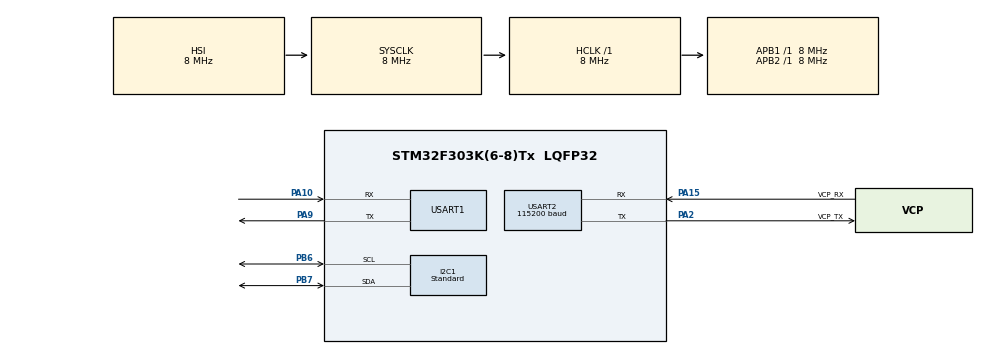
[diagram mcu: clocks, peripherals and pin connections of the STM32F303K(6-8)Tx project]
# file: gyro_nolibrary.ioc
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I2C1.I2C_Speed_Mode=I2C_Standard
I2C1.Speed=100
I2C1.Timing=0x2000090E
Mcu.Family=STM32F3
Mcu.Name=STM32F303K(6-8)Tx
Mcu.Package=LQFP32
NVIC.PriorityGroup=NVIC_PRIORITYGROUP_4
PA10.Mode=Asynchronous
PA10.Signal=USART1_RX
PA13.GPIO_Label=SWDIO
PA13.Mode=Serial_Wire
PA13.Signal=SYS_JTMS-SWDIO
PA14.GPIO_Label=SWCLK
PA14.Mode=Serial_Wire
PA14.Signal=SYS_JTCK-SWCLK
PA15.GPIO_Label=VCP_RX
PA15.Mode=Asynchronous
PA15.Signal=USART2_RX
PA2.GPIO_Label=VCP_TX
PA2.Mode=Asynchronous
PA2.Signal=USART2_TX
PA9.Mode=Asynchronous
PA9.Signal=USART1_TX
PB6.Mode=I2C
PB6.Signal=I2C1_SCL
PB7.Mode=I2C
PB7.Signal=I2C1_SDA
PF0\ /\ OSC_IN.GPIO_Label=MCO
PF0\ /\ OSC_IN.Mode=HSE-External-Clock-Source
PF0\ /\ OSC_IN.Signal=RCC_OSC_IN
ProjectManager.HeapSize=0x200
ProjectManager.StackSize=0x400
ProjectManager.TargetToolchain=STM32CubeIDE
RCC.AHBFreq_Value=8000000
RCC.APB1Freq_Value=8000000
RCC.APB2Freq_Value=8000000
RCC.CortexFreq_Value=8000000
RCC.HSE_VALUE=8000000
RCC.HSI_VALUE=8000000
RCC.SYSCLKFreq_VALUE=8000000
USART1.VirtualMode-Asynchronous=VM_ASYNC
USART2.BaudRate=115200
USART2.VirtualMode-Asynchronous=VM_ASYNC
board=NUCLEO-F303K8

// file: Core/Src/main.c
/* USER CODE BEGIN Header */
/**
 ******************************************************************************
 * @file           : main.c
 * @brief          : Main program body
 ******************************************************************************
 * @attention
 *
 * Copyright (c) 2024 STMicroelectronics.
 * All rights reserved.
 *
 * This software is licensed under terms that can be found in the LICENSE file
 * in the root directory of this software component.
 * If no LICENSE file comes with this software, it is provided AS-IS.
 *
 ******************************************************************************
 */
/* USER CODE END Header */
#include "main.h"

I2C_HandleTypeDef hi2c1;

UART_HandleTypeDef huart1;
UART_HandleTypeDef huart2;

void SystemClock_Config(void);
static void MX_GPIO_Init(void);
static void MX_USART2_UART_Init(void);
static void MX_I2C1_Init(void);
static void MX_USART1_UART_Init(void);

/* USER CODE BEGIN 0 */
#define MPU6050_adress 0x68
#define RegBitSize 8

//pllset
#define regiAddr_CLKSCL 0x6b
#define internal_CLKSCL 0x00
#define xGyro_CLKSCL 0x01
#define yGyro_CLKSCL 0x02
#define zGyro_CLKSCL 0x03
#define lengh_CLKSCL 3
#define startbits_CLKSCL 6

/* USER CODE END 0 */

int main(void)
{

  /* MCU Configuration--------------------------------------------------------*/

  /* Reset of all peripherals, Initializes the Flash interface and the Systick. */
  HAL_Init();

  /* Configure the system clock */
  SystemClock_Config();

  /* Initialize all configured peripherals */
  MX_GPIO_Init();
  MX_USART2_UART_Init();
  MX_I2C1_Init();
  MX_USART1_UART_Init();
  /* USER CODE BEGIN 2 */
	int16_t write_bits(uint8_t regiAddr, uint8_t bitstart, uint8_t length,
			uint8_t data) {
		uint8_t regValue;
		HAL_I2C_Mem_Read(&hi2c1, MPU6050_adress, regiAddr, RegBitSize,
				&regValue, 1, 1000);
		uint8_t mask = ((1 << length) - 1) << (9 - length - bitstart);
		data <<= (RegBitSize - length - bitstart - 1);
		data &= mask;
		regValue &= ~(mask);
		regValue |= data;
		return HAL_I2C_Mem_Write(&hi2c1, MPU6050_adress, regiAddr,
		RegBitSize, &regValue, 1, 1000);
	}
	char buff;
	int intbuff;
	char str[100];
  /* USER CODE END 2 */

  /* Infinite loop */
  /* USER CODE BEGIN WHILE */
//	HAL_I2C_Mem_Read(&hi2c1, MPU6050_adress, regiAddr_CLKSCL, RegBitSize, &buff,
//			1, 1000);
//	buff = (int) buff;
//	sprintf(str, "%d\n\r", buff);
//	HAL_UART_Transmit(&huart2, &str, strlen(str), 1000);
	//CLKSCL
//	write_bits(regiAddr_CLKSCL, startbits_CLKSCL, lengh_CLKSCL, xGyro_CLKSCL);
//	HAL_I2C_Mem_Read(&hi2c1, MPU6050_adress, regiAddr_CLKSCL, RegBitSize, &buff,
//			1, 1000);
//	buff = (int) buff;
//	sprintf(str, "%d\n\r", buff);
//	HAL_UART_Transmit(&huart2, &str, strlen(str), 1000);
	//write_bits(regiAddr_CLKSCL, startbits_CLKSCL, lengh_CLKSCL, xGyro_CLKSCL);
//	uint8_t regiAddr = 0x6b;
//	uint8_t length = lengh_CLKSCL;
//	uint8_t bitstart = startbits_CLKSCL;
//	uint8_t regValue = 0;
//	uint16_t data;
//	HAL_I2C_Mem_Read(&hi2c1, MPU6050_adress, regiAddr, RegBitSize, &buff, 1,
//			1000);
//	intbuff = (int) buff;
//	sprintf(str, "%d\n\r", intbuff);
//	HAL_UART_Transmit(&huart2, &str, strlen(str), 1000);
//	uint8_t mask = ((1 << length) - 1) << (9 - length - bitstart);
//	data <<= (RegBitSize - length - bitstart - 1);
//	data &= mask;
//	regValue &= ~(mask);
//	regValue |= data;
//	HAL_I2C_Mem_Read(&hi2c1, MPU6050_adress, regiAddr, RegBitSize, &buff, 1,
//			1000);
//	intbuff = (int) buff;
//	sprintf(str, "%d\n\r", intbuff);
//	HAL_UART_Transmit(&huart2, &str, strlen(str), 1000);
	uint8_t data = 0x09;
	if(HAL_I2C_Mem_Write(&hi2c1, 0x68, 0x6b, 8, &data, 1, 1000)!=HAL_OK){
		while(1){
			HAL_UART_Transmit(&huart2, (uint16_t*)"error\r\n", 10, 1000);
		}
	}
	while (1) {
//		HAL_I2C_Mem_Read(&hi2c1, MPU6050_adress, regiAddr_CLKSCL,
//		RegBitSize, &buff, 1, 1000);
//		intbuff = (int) buff;
//		sprintf(str, "%d\n", intbuff);
//		HAL_UART_Transmit(&huart2, &str, strlen(str), 1000);
//		write_bits(regiAddr_CLKSCL, startbits_CLKSCL, lengh_CLKSCL,
//				xGyro_CLKSCL);
//		for (int i = 0; i < 100000; i++) {
//			HAL_I2C_Mem_Read(&hi2c1, MPU6050_adress, regiAddr_CLKSCL,
//					RegBitSize, &buff, 1, 1000);
//			intbuff = (int) buff;
//			sprintf(str, "%d\n\r", intbuff);
//			HAL_UART_Transmit(&huart2, &str, strlen(str), 1000);
//		}
    /* USER CODE END WHILE */

	}
}

void SystemClock_Config(void)
{
  RCC_OscInitTypeDef RCC_OscInitStruct = {0};
  RCC_ClkInitTypeDef RCC_ClkInitStruct = {0};
  RCC_PeriphCLKInitTypeDef PeriphClkInit = {0};

  /** Initializes the RCC Oscillators according to the specified parameters
  * in the RCC_OscInitTypeDef structure.
  */
  RCC_OscInitStruct.OscillatorType = RCC_OSCILLATORTYPE_HSI;
  RCC_OscInitStruct.HSIState = RCC_HSI_ON;
  RCC_OscInitStruct.HSICalibrationValue = RCC_HSICALIBRATION_DEFAULT;
  RCC_OscInitStruct.PLL.PLLState = RCC_PLL_NONE;
  if (HAL_RCC_OscConfig(&RCC_OscInitStruct) != HAL_OK)
  {
    Error_Handler();
  }

  /** Initializes the CPU, AHB and APB buses clocks
  */
  RCC_ClkInitStruct.ClockType = RCC_CLOCKTYPE_HCLK|RCC_CLOCKTYPE_SYSCLK
                              |RCC_CLOCKTYPE_PCLK1|RCC_CLOCKTYPE_PCLK2;
  RCC_ClkInitStruct.SYSCLKSource = RCC_SYSCLKSOURCE_HSI;
  RCC_ClkInitStruct.AHBCLKDivider = RCC_SYSCLK_DIV1;
  RCC_ClkInitStruct.APB1CLKDivider = RCC_HCLK_DIV1;
  RCC_ClkInitStruct.APB2CLKDivider = RCC_HCLK_DIV1;

  if (HAL_RCC_ClockConfig(&RCC_ClkInitStruct, FLASH_LATENCY_0) != HAL_OK)
  {
    Error_Handler();
  }
  PeriphClkInit.PeriphClockSelection = RCC_PERIPHCLK_USART1|RCC_PERIPHCLK_I2C1;
  PeriphClkInit.Usart1ClockSelection = RCC_USART1CLKSOURCE_PCLK1;
  PeriphClkInit.I2c1ClockSelection = RCC_I2C1CLKSOURCE_HSI;
  if (HAL_RCCEx_PeriphCLKConfig(&PeriphClkInit) != HAL_OK)
  {
    Error_Handler();
  }
}

static void MX_I2C1_Init(void)
{

  hi2c1.Instance = I2C1;
  hi2c1.Init.Timing = 0x2000090E;
  hi2c1.Init.OwnAddress1 = 0;
  hi2c1.Init.AddressingMode = I2C_ADDRESSINGMODE_7BIT;
  hi2c1.Init.DualAddressMode = I2C_DUALADDRESS_DISABLE;
  hi2c1.Init.OwnAddress2 = 0;
  hi2c1.Init.OwnAddress2Masks = I2C_OA2_NOMASK;
  hi2c1.Init.GeneralCallMode = I2C_GENERALCALL_DISABLE;
  hi2c1.Init.NoStretchMode = I2C_NOSTRETCH_DISABLE;
  if (HAL_I2C_Init(&hi2c1) != HAL_OK)
  {
    Error_Handler();
  }

  /** Configure Analogue filter
  */
  if (HAL_I2CEx_ConfigAnalogFilter(&hi2c1, I2C_ANALOGFILTER_ENABLE) != HAL_OK)
  {
    Error_Handler();
  }

  /** Configure Digital filter
  */
  if (HAL_I2CEx_ConfigDigitalFilter(&hi2c1, 0) != HAL_OK)
  {
    Error_Handler();
  }

}

static void MX_USART1_UART_Init(void)
{

  huart1.Instance = USART1;
  huart1.Init.BaudRate = 38400;
  huart1.Init.WordLength = UART_WORDLENGTH_8B;
  huart1.Init.StopBits = UART_STOPBITS_1;
  huart1.Init.Parity = UART_PARITY_NONE;
  huart1.Init.Mode = UART_MODE_TX_RX;
  huart1.Init.HwFlowCtl = UART_HWCONTROL_NONE;
  huart1.Init.OverSampling = UART_OVERSAMPLING_16;
  huart1.Init.OneBitSampling = UART_ONE_BIT_SAMPLE_DISABLE;
  huart1.AdvancedInit.AdvFeatureInit = UART_ADVFEATURE_NO_INIT;
  if (HAL_UART_Init(&huart1) != HAL_OK)
  {
    Error_Handler();
  }

}

static void MX_USART2_UART_Init(void)
{

  huart2.Instance = USART2;
  huart2.Init.BaudRate = 115200;
  huart2.Init.WordLength = UART_WORDLENGTH_8B;
  huart2.Init.StopBits = UART_STOPBITS_1;
  huart2.Init.Parity = UART_PARITY_NONE;
  huart2.Init.Mode = UART_MODE_TX_RX;
  huart2.Init.HwFlowCtl = UART_HWCONTROL_NONE;
  huart2.Init.OverSampling = UART_OVERSAMPLING_16;
  huart2.Init.OneBitSampling = UART_ONE_BIT_SAMPLE_DISABLE;
  huart2.AdvancedInit.AdvFeatureInit = UART_ADVFEATURE_NO_INIT;
  if (HAL_UART_Init(&huart2) != HAL_OK)
  {
    Error_Handler();
  }

}

static void MX_GPIO_Init(void)
{

  /* GPIO Ports Clock Enable */
  __HAL_RCC_GPIOF_CLK_ENABLE();
  __HAL_RCC_GPIOA_CLK_ENABLE();
  __HAL_RCC_GPIOB_CLK_ENABLE();

}

void Error_Handler(void)
{
	__disable_irq();
	while (1) {
	}
}
